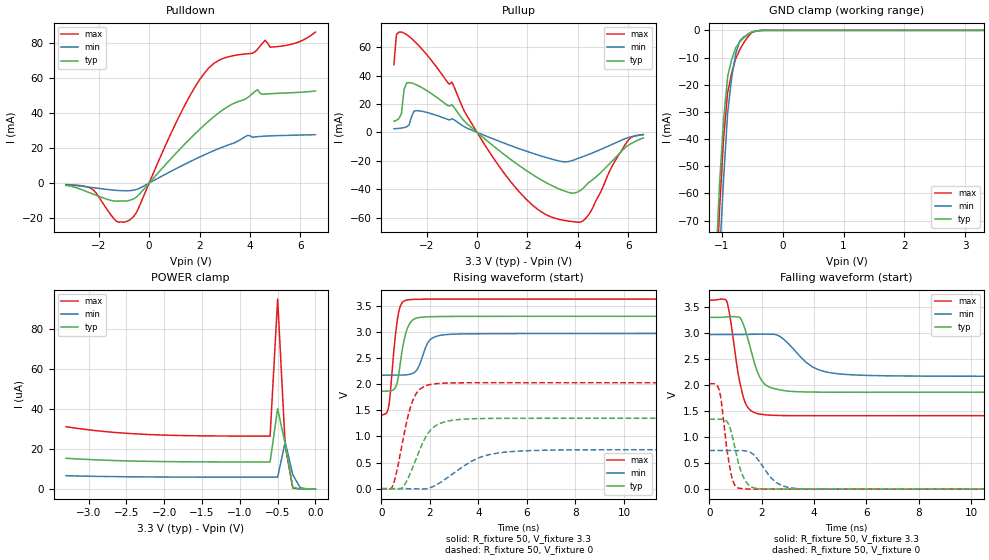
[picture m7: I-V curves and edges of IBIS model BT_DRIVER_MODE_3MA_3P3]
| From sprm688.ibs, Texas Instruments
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|   Model Cell BT_DRIVER_MODE_3MA_3P3
|BT_DRIVER_MODE_3MA_3P3
[Model]   BT_DRIVER_MODE_3MA_3P3
Model_type   I/O
Polarity   Non-Inverting
Enable   Active-Low
Vinl =  0.8
Vinh =  2
Cref =  15.0000pF
Rref =  100.0000M
Vref =  0V
Vmeas =  1.65
C_comp   3.98845p   2.03906p   4.55356p
[Model Spec]
Vinl   0.8   0.8   0.8
Vinh   2   2   2
[Temperature Range]   25   155   -40
[Voltage Range]   3.3   2.97   3.63
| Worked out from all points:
|   slope of the pulldown table from 0 to 0.495 V, typ, clamps not added: 61.7 ohm
|   slope of the pullup table from 0 to 0.495 V, typ, clamps not added: 67.2 ohm
|   GND clamp passes 1 mA (typ) near -0.53 V on its own axis
|   rising waveform, R_fixture 50, V_fixture 3.3: 20-80 % time 326ps typ, 410ps min, 271ps max; typ from 1.87 V to 3.3 V
|   rising waveform, R_fixture 50, V_fixture 0: 20-80 % time 783ps typ, 1.51ns min, 573ps max; typ from 0 V to 1.34 V
|   falling waveform, R_fixture 50, V_fixture 3.3: 20-80 % time 525ps typ, 1.02ns min, 426ps max; typ from 3.3 V to 1.86 V
|   falling waveform, R_fixture 50, V_fixture 0: 20-80 % time 420ps typ, 693ps min, 312ps max; typ from 1.34 V to 0 V
| Nom Voltages:
|   BIASFET=3.3, VDD=1.2, VDDS=3.3, VSS=0
| Min Voltages:
|   BIASFET=2.97, VDD=1.08, VDDS=2.97, VSS=0
| Max Voltages:
|   BIASFET=3.63, VDD=1.32, VDDS=3.63, VSS=0
[POWER_clamp]
|   voltage   I(typ)   I(min)   I(max)
-3.3V     15.41uA    6.707uA    31.17uA
-2.8V     14.47uA    6.332uA    28.78uA
-2.2V     13.87uA    6.102uA    27.25uA
-1.6V     13.64uA    6.016uA    26.64uA
-600mV    13.58uA    5.99uA     26.46uA
-500mV    40.13uA    5.991uA    94.83uA
-400mV    22.54uA    23.52uA    21.76uA
-300mV    969.1nA    7.216uA    616.4nA
-200mV    29.93nA    661.1nA    11.88nA
0V        1.388nA    48.32nA    1.243nA
[Pulldown]
|   voltage   I(typ)   I(min)   I(max)
-3.3V     -1.368mA   -936.2uA   -859.1uA
-2.3V     -5.876mA   -2.477mA   -3.094mA
-1.3V     -10.31mA   -4.18mA    -21.72mA
-800mV    -9.945mA   -4.384mA   -21.31mA
-500mV    -7.961mA   -3.661mA   -16.65mA
1.4V      21.97mA    10.6mA     43.88mA
2.4V      35.71mA    17.39mA    65.97mA
4.3V      53.2mA     26.41mA    76.22mA
4.6V      50.69mA    26.72mA    81.32mA
4.8V      50.87mA    26.86mA    77.39mA
5.4V      51.3mA     27.13mA    78.32mA
6.6V      52.45mA    27.57mA    85.99mA
[Pullup]
|   voltage   I(typ)   I(min)   I(max)
-3.3V     7.739mA    2.523mA    47.63mA
-3.2V     8.473mA    2.639mA    68.85mA
-3V       13.28mA    3.02mA     70.54mA
-2.9V     29.97mA    3.344mA    69.86mA
-2.8V     34.69mA    3.876mA    68.8mA
-2.5V     34.14mA    14.95mA    64.38mA
-1V       19.46mA    9.547mA    35.34mA
1.3V      -18.59mA   -9.091mA   -33.95mA
3.1V      -38.57mA   -19.45mA   -60.48mA
4.3V      -37.72mA   -16.43mA   -60.74mA
6V        -9.124mA   -3.659mA   -5.434mA
6.6V      -3.896mA   -1.629mA   -1.546mA
[GND_clamp]
|   voltage   I(typ)   I(min)   I(max)
-3.3V     -1.746A    -1.481A    -2.454A
-1.1V     -88.72mA   -114.8mA   -101.4mA
-1.033V   -56.66mA   -82.94mA   -65.99mA
-966.7mV  -32.75mA   -54.79mA   -39.79mA
-900mV    -16.98mA   -30.37mA   -22.81mA
-833.3mV  -10.67mA   -17.32mA   -15.58mA
-766.7mV  -6.402mA   -8.477mA   -10.34mA
-700mV    -4.171mA   -3.846mA   -7.085mA
-566.7mV  -1.511mA   -1.331mA   -2.329mA
-500mV    -537.7uA   -639.3uA   -683uA
-300mV    -1.439uA   -12.56uA   -707.1nA
3.3V      1.388nA    14.18uA    1.029nA
[Ramp]
| variable   typ   min   max
dV/dt_f 0.87243134/0.53137713n 0.48603643/1.0377786n   1.344851/0.42962575n
dV/dt_r 0.81373668/0.78906954n 0.45222846/1.5290324n  1.2226949/0.57631885n
R_load = 50
[Rising Waveform]
R_fixture = 50
V_fixture = 3.3
V_fixture_min = 2.97
V_fixture_max = 3.63
|   time   V(typ)   V(min)   V(max)
0s        1.866V     2.173V     1.413V
210.5ps   1.866V     2.173V     1.452V
308.7ps   1.868V     2.173V     1.593V
599.8ps   1.954V     2.173V     3.032V
785.8ps   2.43V      2.173V     3.504V
1.038ns   3.027V     2.179V     3.611V
1.48ns    3.27V      2.287V     3.626V
1.977ns   3.291V     2.834V     3.629V
2.72ns    3.297V     2.952V     3.63V
20.03ns   3.3V       2.97V      3.63V
[Rising Waveform]
R_fixture = 50
V_fixture = 0
V_fixture_min = 0
V_fixture_max = 0
|   time   V(typ)   V(min)   V(max)
0s        0V         0V         0V
462.7ps   -4.838mV   0V         46.66mV
875.1ps   24.7mV     0V         904.1mV
1.165ns   267.9mV    -3.134mV   1.51V
1.385ns   519.6mV    -5.293mV   1.783V
2.018ns   1.12V      19.39mV    1.994V
2.732ns   1.294V     214.4mV    2.022V
4.056ns   1.341V     598.4mV    2.027V
5.234ns   1.346V     705.2mV    2.027V
20.01ns   1.345V     744.3mV    2.026V
[Falling Waveform]
R_fixture = 50
V_fixture = 3.3
V_fixture_min = 2.97
V_fixture_max = 3.63
|   time   V(typ)   V(min)   V(max)
0s        3.3V       2.97V      3.63V
667.3ps   3.31V      2.97V      3.606V
1.125ns   3.308V     2.97V      2.146V
1.312ns   3.151V     2.972V     1.745V
1.507ns   2.821V     2.975V     1.546V
1.894ns   2.187V     2.979V     1.446V
2.726ns   1.903V     2.923V     1.415V
3.935ns   1.866V     2.351V     1.411V
4.973ns   1.862V     2.214V     1.411V
20.03ns   1.865V     2.171V     1.413V
[Falling Waveform]
R_fixture = 50
V_fixture = 0
V_fixture_min = 0
V_fixture_max = 0
|   time   V(typ)   V(min)   V(max)
0s        1.344V     743.3mV    2.026V
374ps     1.345V     743.3mV    1.909V
468ps     1.344V     743.3mV    1.647V
646.2ps   1.31V      743.3mV    856.9mV
833.1ps   1.103V     743.4mV    286.3mV
1.145ns   440.3mV    743.8mV    17.02mV
1.667ns   30.42mV    674.8mV    0V
2.554ns   0V         128.8mV    0V
3.208ns   0V         18.32mV    0V
20.01ns   0V         0V         0V
